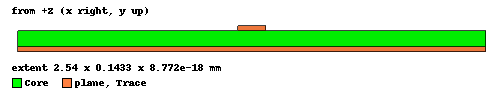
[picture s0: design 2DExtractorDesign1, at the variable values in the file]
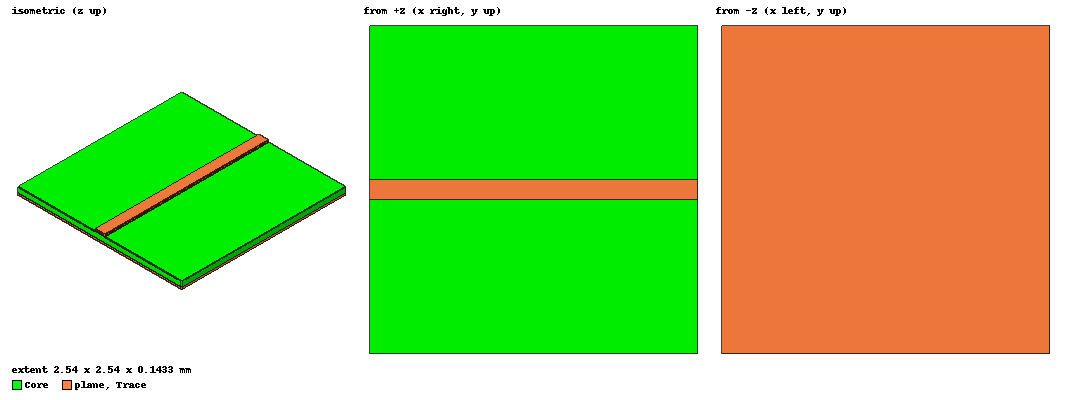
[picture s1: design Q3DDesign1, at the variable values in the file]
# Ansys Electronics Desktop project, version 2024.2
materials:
  vacuum: permittivity=1
  copper: permeability=0.999991 conductivity=58000000
  Core_38: permittivity=3.8 dielectric_loss_tangent=0.02

design 2DExtractorDesign1 (2D Extractor, Open, model units mm)
options: LumpedLength=1meter RiseTime=1ns DistribLengthUnits=meter Calculate_Lossy_Dielectrics
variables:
  T = 1.2mil
  xlen = 100mil
  ylen = 100mil
  Tsub = 3.24mil
  w_t = 6mil
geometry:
  plane#6 = box(corner=(-xlen/2, -ylen/2, 0mm), size=(xlen, ylen, t))
  Core#34 = box(corner=(-xlen/2, -ylen/2, t), size=(xlen, ylen, Tsub))
  Trace#202 = box(corner=(-xlen/2, -w_t/2, T+Tsub), size=(xlen, w_t, T))
  plane [copper] = plane#6.section(plane=YZ)
  plane#6.delete()
  plane.rotate(axis=Y, angle=90deg)
  plane.rotate(axis=Z, angle=90deg)
  Core [Core_38] = Core#34.section(plane=YZ)
  Core#34.delete()
  Core.rotate(axis=Y, angle=90deg)
  Core.rotate(axis=Z, angle=90deg)
  Trace [copper] = Trace#202.section(plane=YZ)
  Trace#202.delete()
  Trace.rotate(axis=Y, angle=90deg)
  Trace.rotate(axis=Z, angle=90deg)
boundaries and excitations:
  Trace: SignalLine Objects=Trace SolveOption=SolveInside Thickness=-1000mm
  plane: ReferenceGround Objects=plane SolveOption=SolveInside Thickness=-1000mm
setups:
  Setup1: 2DMatrix AdaptiveFreq=1THz SaveFields CGDataBlock{MaxPass=50 MinPass=1 MinConvPass=2 PerError=1 PerRefine=30 Included PerErrorParamConv=1} RLDataBlock{MaxPass=50 MinPass=1 MinConvPass=1 PerError=1 PerRefine=30 Included PerErrorParamConv=1}
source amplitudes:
  Trace: CG Fields 1V 0deg
  Trace: RL Fields 1A 0deg
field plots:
  Jrl1: JT over Trace on Setup1 : LastAdaptive at Freq=1THz Phase=0deg
  Jrl2: JP over plane on Setup1 : LastAdaptive at Freq=1THz Phase=180deg

design Q3DDesign1 (Q3D Extractor, model units mm)
options: SParamCalcMethod=EqTransLine Calculate_Lossy_Dielectrics
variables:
  T = 1.2mil
  xlen = 100mil
  ylen = 100mil
  Tsub = 3.24mil
  w_t = 6mil
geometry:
  plane [copper] = box(corner=(-xlen/2, -ylen/2, 0mm), size=(xlen, ylen, t))
  Core [Core_38] = box(corner=(-xlen/2, -ylen/2, t), size=(xlen, ylen, Tsub))
  Trace [copper] = box(corner=(-xlen/2, -w_t/2, T+Tsub), size=(xlen, w_t, T))
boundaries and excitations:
  plane: SignalNet Objects=plane
  Trace: SignalNet Objects=Trace
  Source_trace: Source Faces=Trace.face(-x) TerminalType=ConstantVoltage Net=Trace
  Source_plant: Source Faces=plane.face(-x) TerminalType=ConstantVoltage Net=plane
  Sink_trace: Sink Faces=Trace.face(+x) TerminalType=ConstantVoltage Net=Trace
  Sink_plant: Sink Faces=plane.face(+x) TerminalType=ConstantVoltage Net=plane
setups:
  Setup1: Matrix AdaptiveFreq=1GHz SaveFields Cap{MaxPass=50 MinPass=1 MinConvPass=2 PerError=1 PerRefine=30 AutoIncreaseAccuracy AccuracyLevel=High Solver_Type=Iterative} DC{Cond{MaxPass=50 MinPass=1 MinConvPass=1 PerError=1 PerRefine=30} Mult{MaxPass=50 MinPass=1 MinConvPass=2 PerError=1 PerRefine=30} AccuracyLevel=Normal} AC{MaxPass=50 MinPass=1 MinConvPass=2 PerError=1 PerRefine=30 ACRLSolverType=ACA} ErrorValue=0.1
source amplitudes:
  plane:Source_plant: AC R/L Fields 0A
  Trace:Source_trace: AC R/L Fields 1A
  plane: CG Fields 1V 0deg
  Trace: CG Fields 0V 0deg
  plane:Source_plant: DC R/L Fields 0A
  Trace:Source_trace: DC R/L Fields 1A
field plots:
  SmoothQ1: Q over plane.face(all 6) on Setup1 : LastAdaptive at Freq=1GHz Phase=0deg
